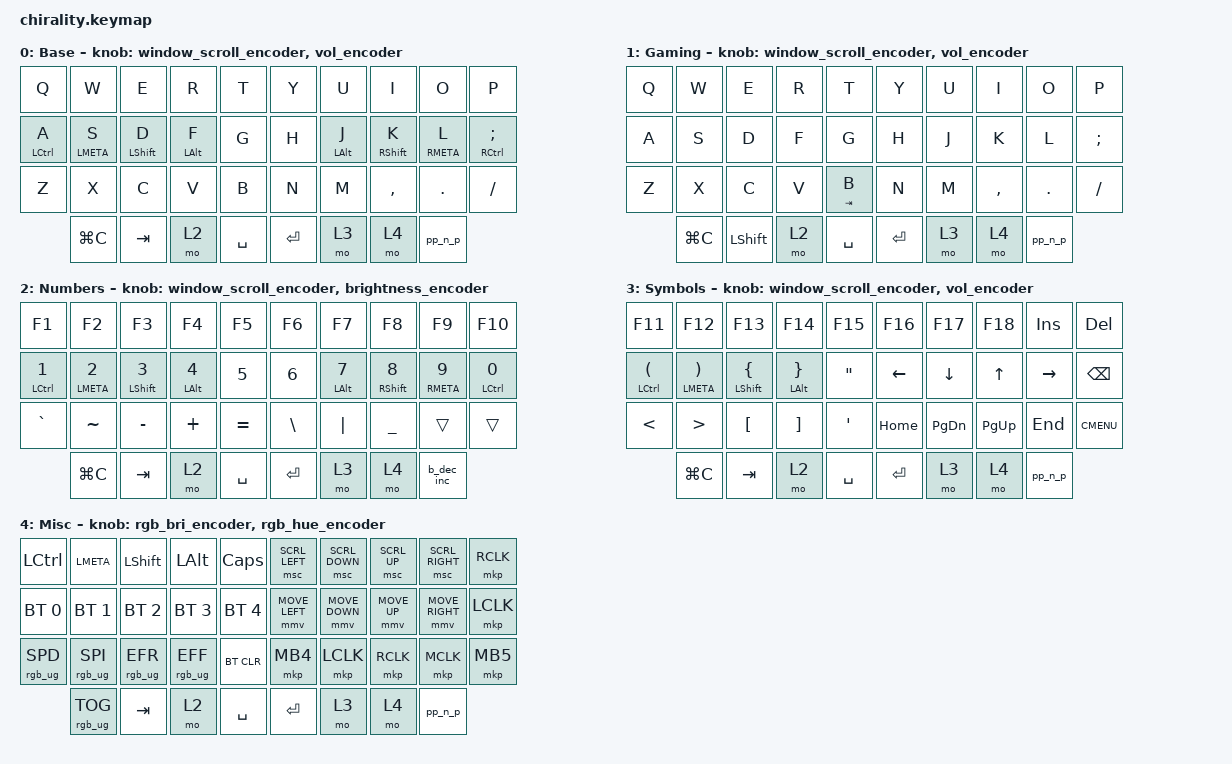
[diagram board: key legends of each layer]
#define ZMK_POINTING_DEFAULT_MOVE_VAL 600  // default: 600
#define ZMK_POINTING_DEFAULT_SCRL_VAL 5    // default: 10

#include <behaviors.dtsi>
#include <dt-bindings/zmk/keys.h>
#include <dt-bindings/zmk/bt.h>
#include <dt-bindings/zmk/outputs.h>
#include <dt-bindings/zmk/pointing.h>
#include <dt-bindings/zmk/rgb.h>

/ {
  behaviors {
    vol_encoder: vol_encoder {
      compatible = "zmk,behavior-sensor-rotate";
      #sensor-binding-cells = <0>;
      bindings = <&kp C_VOL_UP>, <&kp C_VOL_DN>;
    };
    
    brightness_encoder: brightness_encoder {
        compatible = "zmk,behavior-sensor-rotate";
        #sensor-binding-cells = <0>;
        bindings = <&kp C_BRIGHTNESS_INC>, <&kp C_BRIGHTNESS_DEC>;
    };

    scroll_encoder: scroll_encoder {
      compatible = "zmk,behavior-sensor-rotate";
      #sensor-binding-cells = <0>;
      bindings = <&kp DOWN>, <&kp UP>;
    };

    window_scroll_encoder: window_scroll_encoder {
        compatible = "zmk,behavior-sensor-rotate";
        #sensor-binding-cells = <0>;
        bindings = <&kp LG(LEFT)>, <&kp LG(RIGHT)>;
    };

    rgb_bri_encoder: rgb_bri_encoder {
      compatible = "zmk,behavior-sensor-rotate";
      #sensor-binding-cells = <0>;
      bindings = <&rgb_ug RGB_BRD>, <&rgb_ug RGB_BRI>;
    };

    rgb_hue_encoder: rgb_hue_encoder {
      compatible = "zmk,behavior-sensor-rotate";
      #sensor-binding-cells = <0>;
      bindings = <&rgb_ug RGB_HUD>, <&rgb_ug RGB_HUI>;
    };

    hm: homerow_mods {
      compatible = "zmk,behavior-hold-tap";
      label = "HOMEROW_MODS";
      bindings = <&kp>, <&kp>;

      #binding-cells = <2>;
      tapping-term-ms = <300>;
      flavor = "tap-preferred";
      quick-tap-ms = <150>;
    };

    shift: shift {
      compatible = "zmk,behavior-hold-tap";
      label = "SHIFT";
      bindings = <&kp>, <&kp>;

      #binding-cells = <2>;
      tapping-term-ms = <300>;
      flavor = "tap-preferred";
      quick-tap-ms = <150>;
      require-prior-idle-ms = <(-1)>;
    };

    pp_n_p: pp_n_p {
      compatible = "zmk,behavior-tap-dance";
      label = "PP_N_P";
      #binding-cells = <0>;
      bindings = <&kp C_PLAY_PAUSE>, <&kp C_NEXT>, <&kp C_PREV>;

      tapping-term-ms = <400>;
    };

		hold_tap: hold_tap {
			compatible = "zmk,behavior-hold-tap";
			label = "HOLD_TAP";
			bindings = <&kp>, <&kp>;

			#binding-cells = <2>;
			tapping-term-ms = <300>;
		};

    b_dec_inc: b_dec_inc {
      compatible = "zmk,behavior-tap-dance";
      label = "B_DEC_INC";
      #binding-cells = <0>;
      bindings = <&kp F21>, <&kp F22>; // In hyprland, F21 calls ddcutil setvcp 10 0 (decrease brightness), F22 calls ddcutil setvcp 10 100 (increase brightness)

      tapping-term-ms = <400>;
    };
  };

  combos {
    compatible = "zmk,combos";

    Escape {
      bindings = <&kp ESCAPE>;
      key-positions = <10 22>;
    };

    Gaming {
      bindings = <&tog 1>;
      key-positions = <10 14>;
    };
  };

  keymap {
    compatible = "zmk,keymap";

    base {
      label = "Base";
      bindings = <
        &kp Q        &kp W        &kp E           &kp R       &kp T      &kp Y    &kp U       &kp I           &kp O        &kp P
        &hm LCTRL A  &hm LMETA S  &shift LSHFT D  &hm LALT F  &kp G      &kp H    &hm LALT J  &shift RSHFT K  &hm RMETA L  &hm RCTRL SEMI
        &kp Z        &kp X        &kp C           &kp V       &kp B      &kp N    &kp M       &kp COMMA       &kp DOT      &kp FSLH
                     &kp LG(C)    &kp TAB         &mo 2       &kp SPACE  &kp RET  &mo 3       &mo 4           &pp_n_p
      >;
      sensor-bindings = <&window_scroll_encoder &vol_encoder>;
    };

    gaming {
      label = "Gaming";
      bindings = <
        &kp Q  &kp W      &kp E      &kp R  &kp T            &kp Y    &kp U  &kp I      &kp O    &kp P
        &kp A  &kp S      &kp D      &kp F  &kp G            &kp H    &kp J  &kp K      &kp L    &kp SEMI
        &kp Z  &kp X      &kp C      &kp V  &hold_tap TAB B  &kp N    &kp M  &kp COMMA  &kp DOT  &kp FSLH
               &kp LG(C)  &kp LSHFT  &mo 2  &kp SPACE        &kp RET  &mo 3  &mo 4      &pp_n_p
      >;
      sensor-bindings = <&window_scroll_encoder &vol_encoder>;
    };

    numbers {
      label = "Numbers";
      bindings = <
        &kp F1        &kp F2        &kp F3           &kp F4       &kp F5     &kp F6    &kp F7       &kp F8           &kp F9        &kp F10
        &hm LCTRL N1  &hm LMETA N2  &shift LSHFT N3  &hm LALT N4  &kp N5     &kp N6    &hm LALT N7  &shift RSHFT N8  &hm RMETA N9  &hm LCTRL N0
        &kp GRAVE     &kp TILDE     &kp MINUS        &kp PLUS     &kp EQUAL  &kp BSLH  &kp PIPE     &kp UNDER        &trans        &trans
                      &kp LG(C)     &kp TAB          &mo 2        &kp SPACE  &kp RET   &mo 3        &mo 4            &b_dec_inc
      >;
      sensor-bindings = <&window_scroll_encoder &brightness_encoder>;
    };

    symbols {
      label = "Symbols";
      bindings = <
        &kp F11         &kp F12         &kp F13            &kp F14        &kp F15    &kp F16   &kp F17    &kp F18    &kp INSERT  &kp DELETE
        &hm LCTRL LPAR  &hm LMETA RPAR  &shift LSHFT LBRC  &hm LALT RBRC  &kp DQT    &kp LEFT  &kp DOWN   &kp UP     &kp RIGHT   &kp BSPC
        &kp LT          &kp GT          &kp LBKT           &kp RBKT       &kp SQT    &kp HOME  &kp PG_DN  &kp PG_UP  &kp END     &kp K_CMENU
                        &kp LG(C)       &kp TAB            &mo 2          &kp SPACE  &kp RET   &mo 3      &mo 4      &pp_n_p
      >;
      sensor-bindings = <&window_scroll_encoder &vol_encoder>;
    };

    misc {
      label = "Misc";
      bindings = <
        &kp LCTRL        &kp LMETA        &kp LSHFT        &kp LALT         &kp CAPS      &msc SCRL_LEFT  &msc SCRL_DOWN  &msc SCRL_UP  &msc SCRL_RIGHT  &mkp RCLK
        &bt BT_SEL 0     &bt BT_SEL 1     &bt BT_SEL 2     &bt BT_SEL 3     &bt BT_SEL 4  &mmv MOVE_LEFT  &mmv MOVE_DOWN  &mmv MOVE_UP  &mmv MOVE_RIGHT  &mkp LCLK
        &rgb_ug RGB_SPD  &rgb_ug RGB_SPI  &rgb_ug RGB_EFR  &rgb_ug RGB_EFF  &bt BT_CLR    &mkp MB4        &mkp LCLK       &mkp RCLK     &mkp MCLK        &mkp MB5
                         &rgb_ug RGB_TOG  &kp TAB          &mo 2            &kp SPACE     &kp RET         &mo 3           &mo 4         &pp_n_p
      >;
      sensor-bindings = <&rgb_bri_encoder &rgb_hue_encoder>;
    };
  };
};

